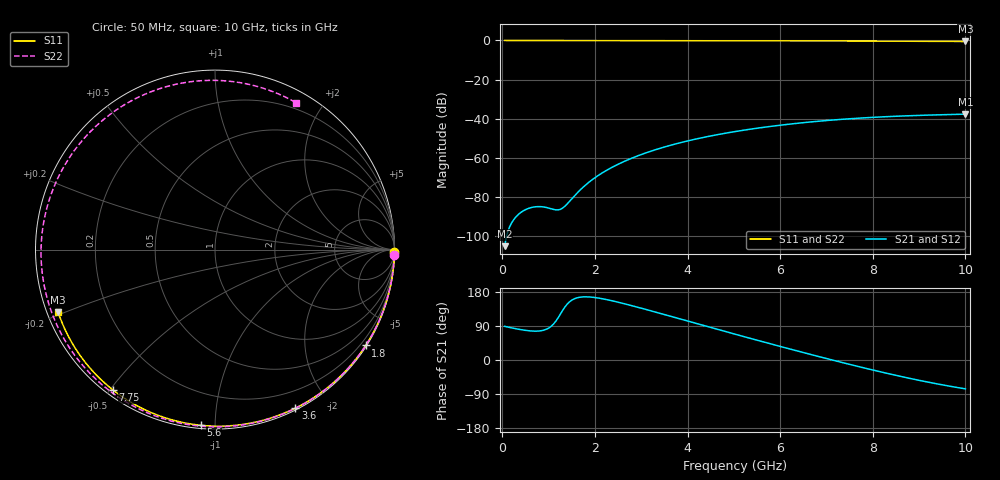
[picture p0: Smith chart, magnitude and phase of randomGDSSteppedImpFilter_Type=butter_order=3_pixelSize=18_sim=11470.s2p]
! freq	dB(S11)	phase(S11)	dB(S12)	phase(S12)
!  dB(S21)	phase(S21)	dB(S22)	phase(S22)
!S-par simulation data
#  GHz  S  DB  R 50
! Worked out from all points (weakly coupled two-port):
!   200 points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, 50 MHz to 10 GHz, reference 50 ohm
!   highest |S21| = -37.61 dB at 10 GHz (marker M1); lowest = -105.0 dB at 50 MHz (marker M2)
!   lowest |S11| = -0.5 dB at 10 GHz (marker M3), VSWR 32.79, Z = 1.58 - j9.56 ohm
!   |S11| at or under -10 dB: nowhere
!   |S22| runs from -0.6 to 0.0 dB; largest |S21 - S12| = 0
!   S11 on the Smith chart (normalised r, x): 50 MHz: open; 1.8 GHz: 0.03, -3.44; 3.6 GHz: 0.02, -1.63; 5.6 GHz: 0.02, -0.92; 7.75 GHz: 0.02, -0.51; 10 GHz: 0.03, -0.19
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0.05  -0.00 -0.9  -104.98 88.8  -104.98 88.8  -0.00 -1.8
0.75  -0.02 -13.7  -84.81 76.2  -84.81 76.2  -0.03 -26.4
1.5  -0.03 -27.1  -80.81 157.9  -80.81 157.9  -0.06 -51.9
1.55  -0.04 -28.0  -79.49 161.2  -79.49 161.2  -0.07 -53.6
1.75  -0.04 -31.5  -74.76 166.6  -74.76 166.6  -0.07 -60.1
1.8  -0.04 -32.4  -73.72 166.7  -73.72 166.7  -0.08 -61.7
2.1  -0.05 -37.7  -68.46 163.0  -68.46 163.0  -0.09 -71.3
2.45  -0.06 -43.8  -63.76 154.0  -63.76 154.0  -0.10 -82.2
2.9  -0.07 -51.4  -59.10 140.0  -59.10 140.0  -0.12 -95.8
3.4  -0.08 -59.8  -55.08 123.4  -55.08 123.4  -0.13 -110.2
3.6  -0.08 -63.1  -53.70 116.6  -53.70 116.6  -0.14 -115.8
4.35  -0.11 -75.3  -49.45 90.9  -49.45 90.9  -0.18 -136.3
5.05  -0.13 -86.2  -46.40 67.3  -46.40 67.3  -0.21 -154.9
5.6  -0.16 -94.6  -44.46 49.0  -44.46 49.0  -0.24 -169.3
6.15  -0.18 -102.9  -42.84 31.0  -42.84 31.0  -0.28 176.3
6.7  -0.22 -110.9  -41.49 13.3  -41.49 13.3  -0.32 161.6
7.2  -0.25 -118.2  -40.48 -2.4  -40.48 -2.4  -0.36 147.9
7.75  -0.29 -126.0  -39.58 -19.1  -39.58 -19.1  -0.40 132.3
8.35  -0.35 -134.6  -38.83 -36.4  -38.83 -36.4  -0.45 114.5
9.2  -0.43 -146.7  -38.09 -58.6  -38.09 -58.6  -0.52 87.8
9.6  -0.48 -152.5  -37.83 -67.8  -37.83 -67.8  -0.55 74.7
10  -0.53 -158.3  -37.61 -76.1  -37.61 -76.1  -0.59 61.3
